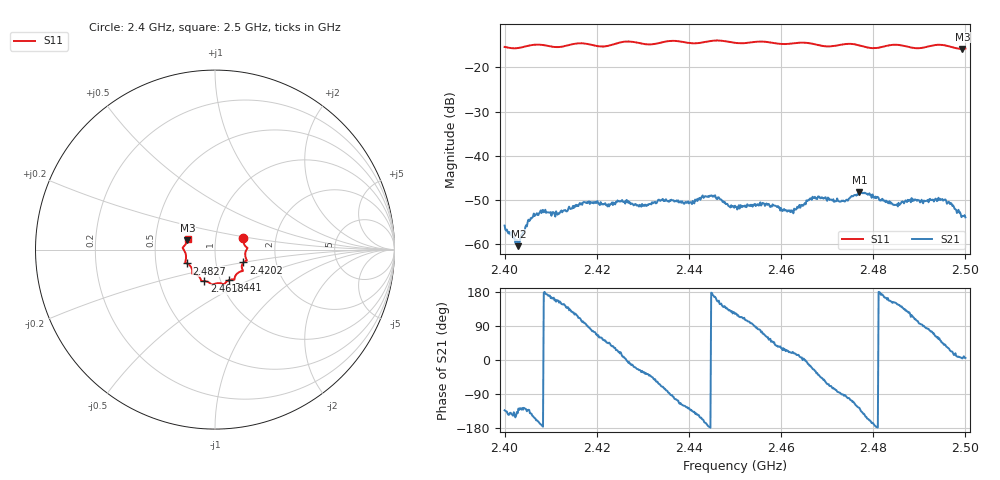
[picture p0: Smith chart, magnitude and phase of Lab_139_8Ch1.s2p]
# Hz S RI R 50
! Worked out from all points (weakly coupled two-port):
!   601 points, 2.4 GHz to 2.5 GHz, reference 50 ohm
!   highest |S21| = -48.16 dB at 2.477 GHz (marker M1); lowest = -60.4 dB at 2.403 GHz (marker M2)
!   lowest |S11| = -15.8 dB at 2.4993 GHz (marker M3), VSWR 1.39, Z = 36.5 + j3.84 ohm
!   |S11| at or under -10 dB: start of sweep to end of sweep
!   S12 and S22 are empty: the file has one direction only
!   S11 on the Smith chart (normalised r, x): 2.4 GHz: 1.36, +0.18; 2.4202 GHz: 1.36, -0.20; 2.441 GHz: 1.10, -0.39; 2.4618 GHz: 0.84, -0.30; 2.4827 GHz: 0.72, -0.12; 2.5 GHz: 0.73, +0.09
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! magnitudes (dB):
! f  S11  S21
! 2.4 GHz  -15.4  -55.7
! 2.403 GHz  -15.6  -60.4
! 2.4065 GHz  -14.9  -53.6
! 2.4083 GHz  -14.9  -52.2
! 2.4113 GHz  -15.4  -53.0
! 2.4167 GHz  -14.5  -50.7
! 2.4202 GHz  -15.2  -50.2
! 2.4292 GHz  -14.5  -51.4
! 2.4333 GHz  -14.5  -49.9
! 2.441 GHz  -14.6  -50.4
! 2.4452 GHz  -14.0  -49.2
! 2.45 GHz  -14.4  -51.3
! 2.4563 GHz  -14.2  -50.8
! 2.4618 GHz  -14.6  -52.3
! 2.4667 GHz  -14.6  -49.9
! 2.4733 GHz  -14.8  -50.2
! 2.477 GHz  -15.0  -48.2
! 2.4827 GHz  -15.2  -50.4
! 2.4833 GHz  -15.0  -50.7
! 2.4952 GHz  -14.9  -50.1
! 2.4993 GHz  -15.8  -53.6
! 2.5 GHz  -15.7  -53.9
